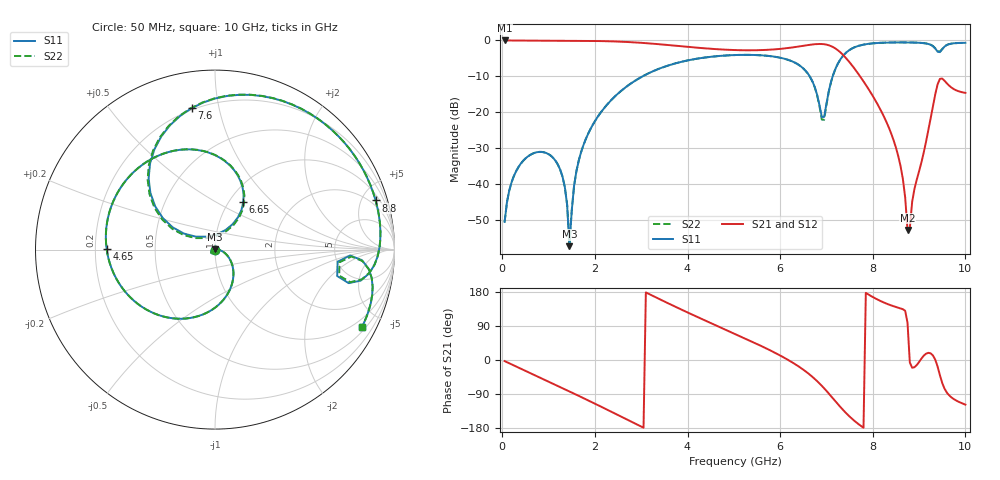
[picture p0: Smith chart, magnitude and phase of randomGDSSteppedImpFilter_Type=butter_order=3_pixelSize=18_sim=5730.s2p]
! freq	dB(S11)	phase(S11)	dB(S12)	phase(S12)
!  dB(S21)	phase(S21)	dB(S22)	phase(S22)
!S-par simulation data
#  GHz  S  DB  R 50
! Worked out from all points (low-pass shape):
!   200 points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, 50 MHz to 10 GHz, reference 50 ohm
!   highest |S21| = -0.01 dB at 50 MHz (marker M1); lowest = -52.9 dB at 8.75 GHz (marker M2)
!   |S21| within 3 dB of the highest: start of sweep to 7.271 GHz
!   lowest |S11| = -57.4 dB at 1.45 GHz (marker M3), VSWR 1.00, Z = 49.9 + j0.123 ohm
!   |S11| at or under -10 dB: start of sweep to 3.033 GHz; 6.637 GHz to 7.135 GHz (498.6 MHz wide, 7.24 % of centre)
!   |S22| runs from -56.6 to -0.6 dB; largest |S21 - S12| = 0
!   S11 on the Smith chart (normalised r, x): 50 MHz: 1.00, -0.01; 4.65 GHz: 0.25, +0.00; 6.65 GHz: 1.16, +0.68; 7.6 GHz: 0.19, +0.83; 8.8 GHz: 1.44, +6.36; 10 GHz: 0.65, -3.94
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0.05  -50.64 -71.4  -0.01 -2.9  -0.01 -2.9  -50.64 -71.4
0.35  -35.31 -108.6  -0.03 -20.0  -0.03 -20.0  -35.31 -108.6
0.95  -31.42 -145.8  -0.07 -54.1  -0.07 -54.1  -31.42 -146.0
1.3  -38.00 -168.5  -0.08 -74.2  -0.08 -74.2  -37.99 -169.1
1.45  -57.40 114.2  -0.09 -82.9  -0.09 -82.9  -56.60 114.1
1.55  -40.57 6.0  -0.10 -88.7  -0.10 -88.7  -40.56 7.1
1.75  -29.29 -9.7  -0.12 -100.4  -0.12 -100.4  -29.30 -9.3
2.65  -13.21 -65.0  -0.41 -154.4  -0.41 -154.4  -13.21 -64.9
3.4  -7.83 -110.2  -1.08 160.3  -1.08 160.3  -7.83 -110.1
4.65  -4.38 179.5  -2.46 89.4  -2.46 89.4  -4.38 179.4
5.05  -4.07 157.8  -2.71 67.5  -2.71 67.5  -4.07 157.7
6.65  -10.26 59.1  -1.21 -39.7  -1.21 -39.7  -10.30 58.0
6.7  -11.51 56.3  -1.13 -44.8  -1.13 -44.8  -11.56 55.0
6.95  -21.35 122.8  -1.07 -74.7  -1.07 -74.7  -22.14 124.9
7.2  -7.72 144.1  -2.31 -109.8  -2.31 -109.8  -7.76 145.4
7.6  -1.95 99.4  -7.77 -160.2  -7.77 -160.2  -1.96 100.0
8.35  -0.59 42.3  -24.41 146.2  -24.41 146.2  -0.59 42.6
8.6  -0.56 27.9  -35.08 136.3  -35.08 136.3  -0.56 28.2
8.75  -0.57 19.7  -52.86 98.4  -52.86 98.4  -0.56 20.0
8.8  -0.58 17.0  -52.38 -6.6  -52.38 -6.6  -0.57 17.3
9.4  -3.14 -12.2  -12.23 -17.5  -12.23 -17.5  -3.01 -11.9
10  -0.67 -27.8  -14.63 -117.8  -14.63 -117.8  -0.67 -27.9
